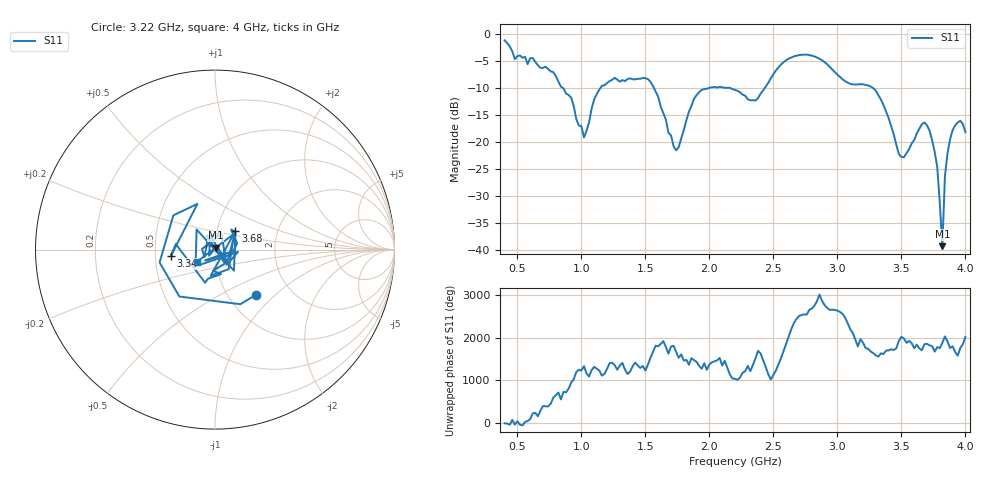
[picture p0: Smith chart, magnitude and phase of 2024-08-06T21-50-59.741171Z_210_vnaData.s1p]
!Created with skrf (http://scikit-rf.org).
# Hz S RI R 50.0
!freq ReS11 ImS11
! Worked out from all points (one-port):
!   181 points, 400 MHz to 4 GHz, reference 50 ohm
!   lowest |S11| = -39.3 dB at 3.82 GHz (marker M1), VSWR 1.02, Z = 50.3 + j1.04 ohm
!   |S11| at or under -10 dB: 859.2 MHz to 1.148 GHz (288.4 MHz wide, 28.7 % of centre); 1.568 GHz to 1.991 GHz (423.2 MHz wide, 23.8 % of centre); 3.281 GHz to end of sweep (the widest 3 of 4)
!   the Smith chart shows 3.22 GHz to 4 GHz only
!   S11 on the Smith chart (normalised r, x): 3.22 GHz: 1.34, -0.76; 3.34 GHz: 0.60, -0.05; 3.68 GHz: 1.23, +0.25; 4 GHz: 0.81, -0.11
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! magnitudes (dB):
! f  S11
! 400 MHz  -1.1
! 480 MHz  -4.6
! 620 MHz  -4.4
! 860 MHz  -10.0
! 1.02 GHz  -19.1
! 1.14 GHz  -10.3
! 1.3 GHz  -8.8
! 1.54 GHz  -8.8
! 1.72 GHz  -20.7
! 1.76 GHz  -20.9
! 1.92 GHz  -10.7
! 2.2 GHz  -10.3
! 2.36 GHz  -12.3
! 2.66 GHz  -4.1
! 2.84 GHz  -4.3
! 3.1 GHz  -9.2
! 3.22 GHz  -9.4
! 3.34 GHz  -12.1
! 3.48 GHz  -22.2
! 3.56 GHz  -21.3
! 3.68 GHz  -16.4
! 3.72 GHz  -17.9
! 3.78 GHz  -24.6
! 3.82 GHz  -39.3
! 3.84 GHz  -26.4
! 3.88 GHz  -19.5
! 3.96 GHz  -16.0
! 4 GHz  -18.1
